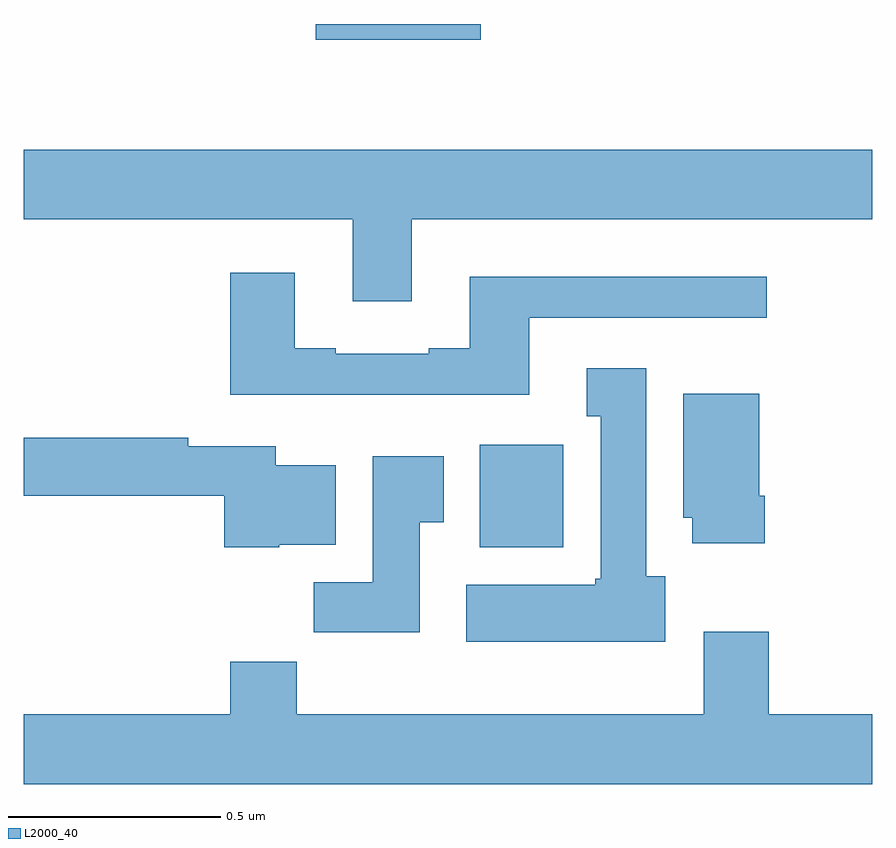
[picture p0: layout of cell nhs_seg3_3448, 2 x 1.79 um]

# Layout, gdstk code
import gdstk
lib = gdstk.Library(unit=1e-6, precision=1e-09)
def R(c, l, rs):  # rectangles x0, y0, x1, y1
    for r in rs: c.add(gdstk.rectangle(r[:2], r[2:], *l))
def P(c, l, *ps):  # polygons
    for p in ps: c.add(gdstk.Polygon(p, *l))
L2000_40 = (2000, 40)

nhs_seg3_3448 = lib.new_cell('nhs_seg3_3448')
R(nhs_seg3_3448, L2000_40, [(155.075,676.166,155.272,676.408), (154.688,677.363,155.077,677.4)])
P(nhs_seg3_3448, L2000_40, [(154.915,676.94),(156,676.94),(156,677.104),(154,677.104),(154,676.94),(154.775,676.94),(154.775,676.746),(154.915,676.746)],
  [(155.191,676.707),(155.752,676.707),(155.752,676.804),(155.051,676.804),(155.051,676.636),(154.955,676.636),(154.955,676.623),(154.735,676.623),(154.735,676.636),(154.639,676.636),(154.639,676.813),(154.487,676.813),(154.487,676.526),(155.191,676.526)],
  [(155.512,676.098),(155.467,676.098),(155.467,676.588),(155.327,676.588),(155.327,676.475),(155.36,676.475),(155.36,676.092),(155.347,676.092),(155.347,676.078),(155.043,676.078),(155.043,675.944),(155.512,675.944)],
  [(155.747,676.288),(155.734,676.288),(155.734,676.528),(155.555,676.528),(155.555,676.236),(155.576,676.236),(155.576,676.176),(155.747,676.176)],
  [(154.602,676.172),(154.735,676.172),(154.735,676.36),(154.594,676.36),(154.594,676.404),(154.388,676.404),(154.388,676.424),(154,676.424),(154,676.288),(154.472,676.288),(154.472,676.166),(154.602,676.166)],
  [(154.933,676.225),(154.99,676.225),(154.99,676.381),(154.823,676.381),(154.823,676.084),(154.684,676.084),(154.684,675.966),(154.933,675.966)],
  [(156,675.772),(155.756,675.772),(155.756,675.967),(155.603,675.967),(155.603,675.772),(154.643,675.772),(154.643,675.896),(154.487,675.896),(154.487,675.772),(154,675.772),(154,675.608),(156,675.608)])

lib.write_gds('nhs_seg3_3448.gds')
